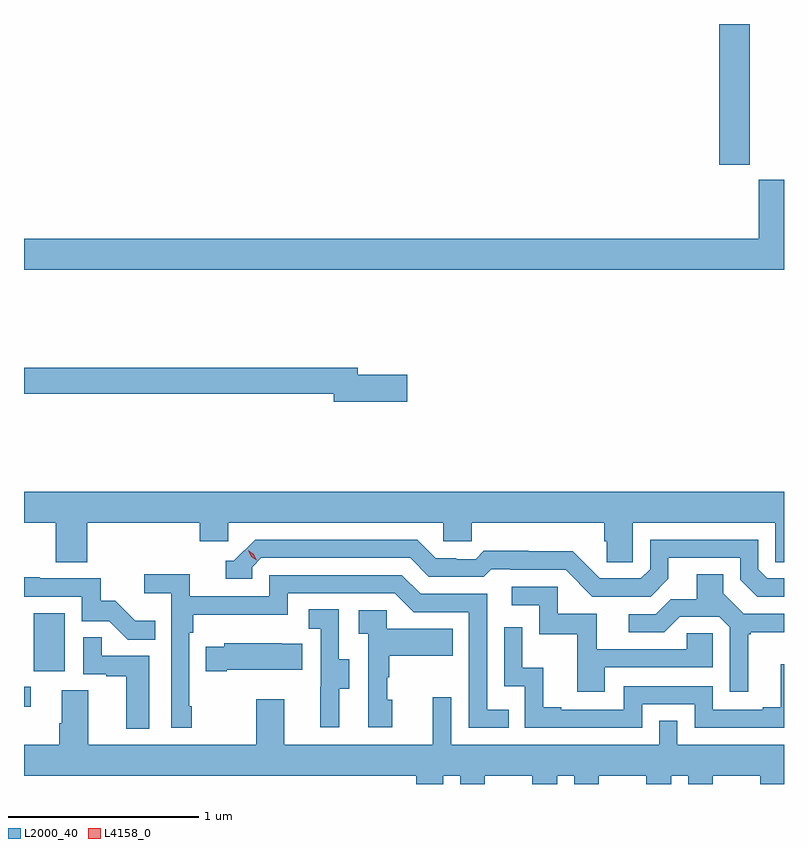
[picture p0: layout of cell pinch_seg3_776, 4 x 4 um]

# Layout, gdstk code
import gdstk
lib = gdstk.Library(unit=1e-6, precision=1e-09)
def R(c, l, rs):  # rectangles x0, y0, x1, y1
    for r in rs: c.add(gdstk.rectangle(r[:2], r[2:], *l))
def P(c, l, *ps):  # polygons
    for p in ps: c.add(gdstk.Polygon(p, *l))
L2000_40 = (2000, 40)
L4158_0 = (4158, 0)

pinch_seg3_776 = lib.new_cell('pinch_seg3_776')
R(pinch_seg3_776, L2000_40, [(818.393,713.268,818.428,713.373), (818.444,713.454,818.608,713.761), (822.053,716.121,822.213,716.861)])
P(pinch_seg3_776, L2000_40, [(822.393,716.041),(822.26,716.041),(822.26,715.732),(818.393,715.732),(818.393,715.568),(822.393,715.568)],
  [(820.411,715.016),(820.15,715.016),(820.15,715.052),(818.393,715.052),(818.393,714.916),(820.022,714.916),(820.022,714.874),(820.411,714.874)],
  [(818.726,714.236),(819.317,714.236),(819.317,714.138),(819.468,714.138),(819.468,714.236),(820.599,714.236),(820.599,714.138),(820.749,714.138),(820.749,714.236),(821.447,714.236),(821.447,714.138),(821.461,714.138),(821.461,714.028),(821.598,714.028),(821.598,714.236),(822.348,714.236),(822.348,714.028),(822.393,714.028),(822.393,714.4),(818.393,714.4),(818.393,714.236),(818.561,714.236),(818.561,714.028),(818.726,714.028)],
  [(821.785,713.941),(821.785,714.051),(822.162,714.051),(822.162,713.937),(822.252,713.847),(822.393,713.847),(822.393,713.943),(822.306,713.943),(822.258,713.991),(822.258,714.147),(821.688,714.147),(821.688,713.991),(821.64,713.943),(821.424,713.943),(821.282,714.085),(821.046,714.085),(821.046,714.088),(820.813,714.088),(820.771,714.045),(820.668,714.045),(820.668,714.048),(820.561,714.048),(820.462,714.147),(819.609,714.147),(819.498,714.036),(819.455,714.036),(819.455,713.94),(819.594,713.94),(819.594,714.003),(819.642,714.051),(820.425,714.051),(820.524,713.952),(820.813,713.952),(820.852,713.991),(820.951,713.991),(820.951,713.988),(821.244,713.988),(821.385,713.847),(821.691,713.847)],
  [(819.277,713.269),(819.264,713.269),(819.264,713.657),(819.284,713.657),(819.284,713.753),(819.78,713.753),(819.78,713.865),(820.344,713.865),(820.443,713.766),(820.734,713.766),(820.734,713.157),(820.943,713.157),(820.943,713.253),(820.83,713.253),(820.83,713.862),(820.48,713.862),(820.381,713.961),(819.684,713.961),(819.684,713.85),(819.266,713.85),(819.266,713.966),(819.027,713.966),(819.027,713.864),(819.168,713.864),(819.168,713.157),(819.277,713.157)],
  [(822.205,713.649),(822.217,713.649),(822.217,713.66),(822.393,713.66),(822.393,713.757),(822.18,713.757),(822.073,713.864),(822.073,713.966),(821.933,713.966),(821.933,713.834),(821.798,713.834),(821.718,713.754),(821.577,713.754),(821.577,713.661),(821.764,713.661),(821.845,713.742),(822.051,713.742),(822.108,713.685),(822.108,713.346),(822.205,713.346)],
  [(819.083,713.719),(818.979,713.719),(818.872,713.826),(818.796,713.826),(818.796,713.943),(818.477,713.943),(818.477,713.948),(818.393,713.948),(818.393,713.847),(818.697,713.847),(818.697,713.718),(818.842,713.718),(818.94,713.62),(819.083,713.62)],
  [(821.449,713.475),(822.018,713.475),(822.018,713.655),(821.881,713.655),(821.881,713.571),(821.407,713.571),(821.407,713.757),(821.202,713.757),(821.202,713.898),(820.959,713.898),(820.959,713.802),(821.106,713.802),(821.106,713.649),(821.305,713.649),(821.305,713.346),(821.449,713.346)],
  [(820.051,713.362),(820.105,713.362),(820.105,713.517),(820.05,713.517),(820.05,713.78),(819.891,713.78),(819.891,713.677),(819.954,713.677),(819.954,713.373),(819.953,713.373),(819.953,713.16),(820.051,713.16)],
  [(820.33,713.304),(820.305,713.304),(820.305,713.423),(820.315,713.423),(820.315,713.537),(820.649,713.537),(820.649,713.677),(820.302,713.677),(820.302,713.775),(820.155,713.775),(820.155,713.651),(820.206,713.651),(820.206,713.16),(820.33,713.16)],
  [(821.646,713.28),(821.922,713.28),(821.922,713.157),(822.393,713.157),(822.393,713.491),(822.377,713.491),(822.377,713.266),(822.281,713.266),(822.281,713.253),(822.018,713.253),(822.018,713.376),(821.55,713.376),(821.55,713.253),(821.221,713.253),(821.221,713.266),(821.126,713.266),(821.126,713.474),(821.016,713.474),(821.016,713.686),(820.92,713.686),(820.92,713.376),(821.028,713.376),(821.028,713.157),(821.646,713.157)],
  [(819.052,713.535),(818.801,713.535),(818.801,713.633),(818.706,713.633),(818.706,713.439),(818.827,713.439),(818.827,713.427),(818.93,713.427),(818.93,713.153),(819.052,713.153)],
  [(819.46,713.462),(819.857,713.462),(819.857,713.599),(819.749,713.599),(819.749,713.602),(819.447,713.602),(819.447,713.584),(819.349,713.584),(819.349,713.455),(819.46,713.455)],
  [(821.832,713.195),(821.736,713.195),(821.736,713.068),(820.641,713.068),(820.641,713.317),(820.544,713.317),(820.544,713.068),(819.763,713.068),(819.763,713.308),(819.616,713.308),(819.616,713.068),(818.731,713.068),(818.731,713.354),(818.591,713.354),(818.591,713.18),(818.579,713.18),(818.579,713.068),(818.393,713.068),(818.393,712.904),(820.457,712.904),(820.457,712.861),(820.6,712.861),(820.6,712.904),(820.688,712.904),(820.688,712.861),(820.819,712.861),(820.819,712.904),(821.069,712.904),(821.069,712.861),(821.2,712.861),(821.2,712.904),(821.288,712.904),(821.288,712.861),(821.419,712.861),(821.419,712.904),(821.669,712.904),(821.669,712.861),(821.8,712.861),(821.8,712.904),(821.888,712.904),(821.888,712.861),(822.019,712.861),(822.019,712.904),(822.269,712.904),(822.269,712.861),(822.393,712.861),(822.393,713.068),(821.832,713.068)])
P(pinch_seg3_776, L4158_0, [(819.619,714.038),(819.588,714.057),(819.572,714.09),(819.572,714.09),(819.572,714.09),(819.603,714.071),(819.619,714.039),(819.619,714.038)])

lib.write_gds('pinch_seg3_776.gds')
